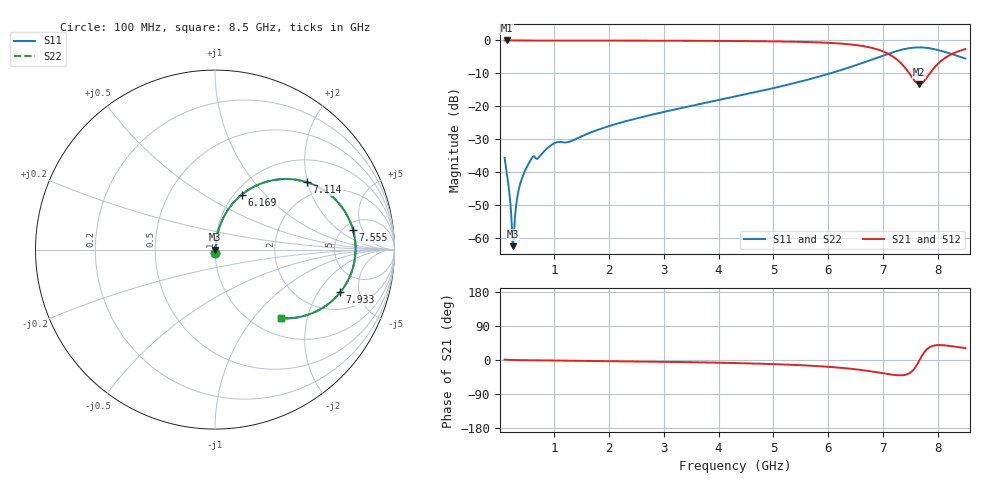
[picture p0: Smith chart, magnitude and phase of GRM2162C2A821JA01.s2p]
!Murata Part Number: GRM2162C2A821JA01
!These Parameters are Measured in Series Mode Connection
!Data Generated on Mar 30, 2021
!  o--ll--o
!Port1  Port2
!  o------o
!Operation Temp=25[degC], DC Bias Voltage=0[V]
!Freq. Start=100[MHz] Stop=9[GHz] 401[Steps]
# Hz S RI R 50
!Freq.(Hz) S11(Real) S11(Imag) S21(Real) S21(Imag) S12(Real) S12(Imag) S22(Real) S22(Imag)
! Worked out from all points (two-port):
!   401 points, 100 MHz to 8.5 GHz, reference 50 ohm
!   highest |S21| = 0.00 dB at 142 MHz (marker M1); lowest = -13.3 dB at 7.66 GHz (marker M2)
!   |S21| within 3 dB of the highest: start of sweep to 6.948 GHz; 8.424 GHz to end of sweep
!   lowest |S11| = -62.5 dB at 247 MHz (marker M3), VSWR 1.00, Z = 50.1 - j0.0463 ohm
!   |S11| at or under -10 dB: start of sweep to 6.037 GHz
!   |S22| runs from -62.5 to -2.1 dB; largest |S21 - S12| = 0
!   S11 on the Smith chart (normalised r, x): 100 MHz: 1.00, -0.03; 6.169 GHz: 1.08, +0.75; 7.114 GHz: 1.58, +1.99; 7.555 GHz: 6.04, +3.36; 7.933 GHz: 3.08, -3.22; 8.5 GHz: 1.32, -1.40
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1e8  0.000659 -0.0164  0.9993 0.0164  0.9993 0.0164  0.000659 -0.0164
1.42e8  0.000524 -0.0094  0.9995 0.0094  0.9995 0.0094  0.000524 -0.0094
2.26e8  0.000557 -0.00182  0.9994 0.00182  0.9994 0.00182  0.000557 -0.00182
2.47e8  0.000589 -0.000463  0.9994 0.000463  0.9994 0.000463  0.000589 -0.000463
2.89e8  0.000669 0.00194  0.9993 -0.00194  0.9993 -0.00194  0.000669 0.00194
3.31e8  0.00077 0.00408  0.9992 -0.00408  0.9992 -0.00408  0.00077 0.00408
3.94e8  0.000966 0.00698  0.999 -0.00698  0.999 -0.00698  0.000966 0.00698
5.83e8  0.00291 0.0154  0.9971 -0.0154  0.9971 -0.0154  0.00291 0.0154
1.003e9  0.00683 0.0264  0.9932 -0.0264  0.9932 -0.0264  0.00683 0.0264
1.507e9  0.00574 0.0346  0.9943 -0.0346  0.9943 -0.0346  0.00574 0.0346
2.914e9  0.012 0.078  0.988 -0.078  0.988 -0.078  0.012 0.078
4.3e9  0.029 0.1371  0.971 -0.1371  0.971 -0.1371  0.029 0.1371
5.707e9  0.0917 0.248  0.9083 -0.248  0.9083 -0.248  0.0917 0.248
6.169e9  0.1502 0.3067  0.8498 -0.3067  0.8498 -0.3067  0.1502 0.3067
6.673e9  0.2827 0.3768  0.7173 -0.3768  0.7173 -0.3768  0.2827 0.3768
7.114e9  0.5139 0.3747  0.4861 -0.3747  0.4861 -0.3747  0.5139 0.3747
7.324e9  0.6551 0.2934  0.3449 -0.2934  0.3449 -0.2934  0.6551 0.2934
7.555e9  0.7687 0.1104  0.2313 -0.1104  0.2313 -0.1104  0.7687 0.1104
7.66e9  0.7833 0.00566  0.2167 -0.00566  0.2167 -0.00566  0.7833 0.00566
7.933e9  0.6976 -0.2382  0.3024 0.2382  0.3024 0.2382  0.6976 -0.2382
8.185e9  0.5411 -0.3547  0.4589 0.3547  0.4589 0.3547  0.5411 -0.3547
8.5e9  0.3688 -0.3823  0.6312 0.3823  0.6312 0.3823  0.3688 -0.3823
